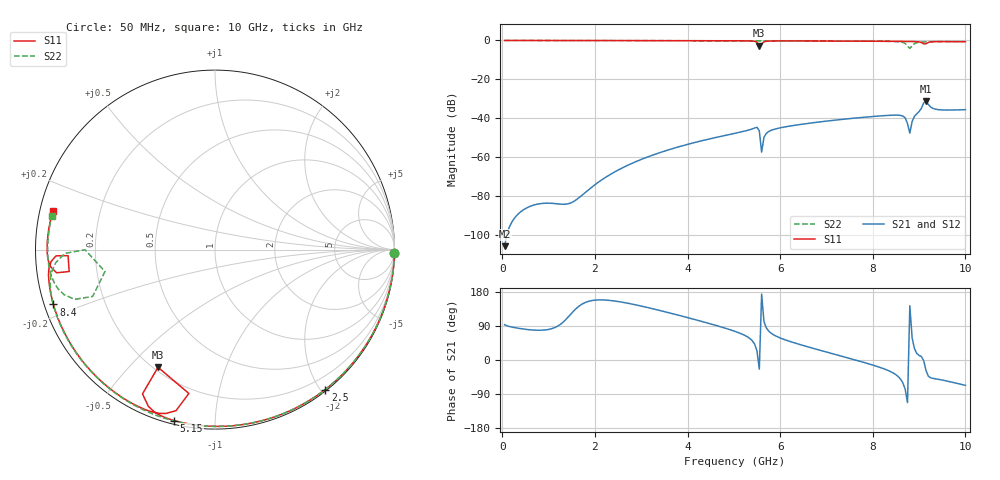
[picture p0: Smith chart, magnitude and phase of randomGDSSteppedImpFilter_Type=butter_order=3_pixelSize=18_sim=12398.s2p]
! freq	dB(S11)	phase(S11)	dB(S12)	phase(S12)
!  dB(S21)	phase(S21)	dB(S22)	phase(S22)
!S-par simulation data
#  GHz  S  DB  R 50
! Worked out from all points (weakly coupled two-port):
!   200 points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, 50 MHz to 10 GHz, reference 50 ohm
!   highest |S21| = -31.18 dB at 9.15 GHz (marker M1); lowest = -105.6 dB at 50 MHz (marker M2)
!   lowest |S11| = -2.8 dB at 5.55 GHz (marker M3), VSWR 6.37, Z = 10.8 - j30.3 ohm
!   |S11| at or under -10 dB: nowhere
!   |S22| runs from -4.1 to 0.0 dB; largest |S21 - S12| = 0
!   S11 on the Smith chart (normalised r, x): 50 MHz: open; 2.5 GHz: 0.02, -2.06; 5.15 GHz: 0.02, -0.79; 8.4 GHz: 0.03, -0.17; 10 GHz: 0.04, +0.12
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0.05  -0.00 -1.1  -105.58 93.2  -105.58 93.2  -0.00 -1.1
1.75  -0.05 -36.6  -78.87 149.3  -78.87 149.3  -0.05 -37.1
2.5  -0.07 -51.8  -66.53 154.4  -66.53 154.4  -0.07 -52.5
3.4  -0.09 -69.5  -57.59 130.8  -57.59 130.8  -0.09 -70.3
5.05  -0.17 -101.4  -47.52 74.5  -47.52 74.5  -0.16 -101.4
5.15  -0.18 -103.5  -46.99 69.8  -46.99 69.8  -0.16 -103.3
5.45  -0.46 -113.0  -44.94 41.5  -44.94 41.5  -0.18 -108.7
5.55  -2.75 -115.8  -46.38 -24.3  -46.38 -24.3  -0.18 -110.6
5.6  -1.78 -100.3  -57.30 173.9  -57.30 173.9  -0.19 -111.5
5.65  -0.69 -103.6  -49.76 101.8  -49.76 101.8  -0.19 -112.4
5.75  -0.32 -108.7  -46.76 76.7  -46.76 76.7  -0.20 -114.2
6.7  -0.26 -129.0  -42.26 31.2  -42.26 31.2  -0.26 -131.3
8.35  -0.43 -160.2  -38.43 -28.6  -38.43 -28.6  -0.47 -163.9
8.4  -0.44 -161.2  -38.37 -31.5  -38.37 -31.5  -0.49 -165.3
8.7  -0.50 -167.6  -39.74 -77.3  -39.74 -77.3  -1.54 -178.5
8.8  -0.53 -169.9  -47.58 143.1  -47.58 143.1  -4.08 -168.7
8.85  -0.55 -171.2  -41.57 58.2  -41.57 58.2  -2.73 -159.1
8.9  -0.59 -172.5  -38.91 30.0  -38.91 30.0  -1.62 -160.5
9.1  -1.73 -177.7  -32.04 -1.7  -32.04 -1.7  -0.73 -169.8
9.15  -1.71 -171.4  -31.18 -27.8  -31.18 -27.8  -0.68 -171.3
9.35  -0.60 -177.4  -35.26 -49.5  -35.26 -49.5  -0.61 -176.8
10  -0.64 166.5  -35.52 -66.8  -35.52 -66.8  -0.65 168.4
